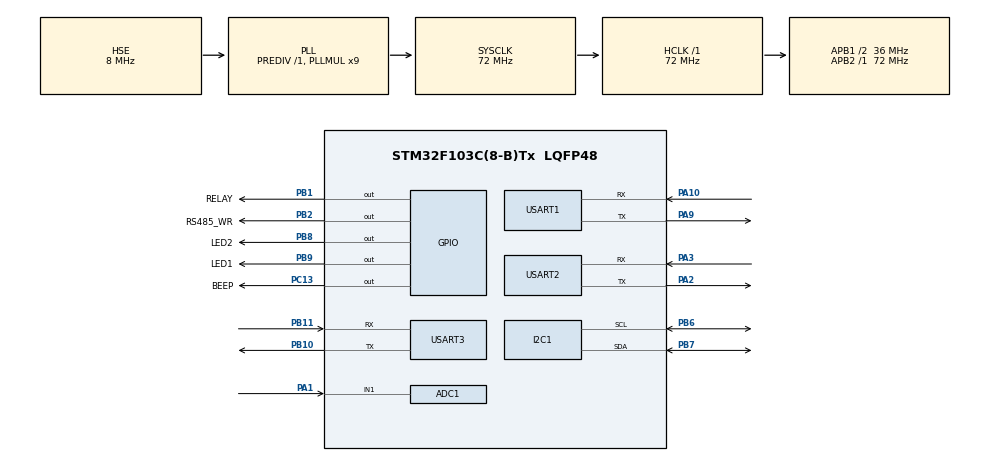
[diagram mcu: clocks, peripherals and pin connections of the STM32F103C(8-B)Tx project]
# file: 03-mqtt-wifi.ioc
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ADC1.Channel-6\#ChannelRegularConversion=ADC_CHANNEL_TEMPSENSOR
ADC1.NbrOfConversionFlag=1
ADC1.Rank-6\#ChannelRegularConversion=1
ADC1.SamplingTime-6\#ChannelRegularConversion=ADC_SAMPLETIME_239CYCLES_5
ADC1.master=1
Dma.Request0=USART3_RX
Dma.USART3_RX.0.Direction=DMA_PERIPH_TO_MEMORY
Dma.USART3_RX.0.Instance=DMA1_Channel3
Dma.USART3_RX.0.MemDataAlignment=DMA_MDATAALIGN_BYTE
Dma.USART3_RX.0.MemInc=DMA_MINC_ENABLE
Dma.USART3_RX.0.Mode=DMA_CIRCULAR
Dma.USART3_RX.0.PeriphDataAlignment=DMA_PDATAALIGN_BYTE
Dma.USART3_RX.0.PeriphInc=DMA_PINC_DISABLE
Dma.USART3_RX.0.Priority=DMA_PRIORITY_HIGH
Mcu.Family=STM32F1
Mcu.Name=STM32F103C(8-B)Tx
Mcu.Package=LQFP48
NVIC.DMA1_Channel3_IRQn=true\:0\:0\:false\:false\:true\:false\:true\:true
NVIC.PriorityGroup=NVIC_PRIORITYGROUP_4
NVIC.TIM1_UP_IRQn=true\:0\:0\:false\:false\:true\:true\:true\:true
NVIC.TIM3_IRQn=true\:2\:0\:true\:false\:false\:true\:true\:true
NVIC.TIM4_IRQn=true\:0\:0\:false\:false\:true\:true\:true\:true
NVIC.USART2_IRQn=true\:0\:0\:false\:false\:false\:true\:true\:true
NVIC.USART3_IRQn=true\:0\:0\:false\:false\:true\:true\:true\:true
PA1.Signal=ADCx_IN1
PA10.Mode=Asynchronous
PA10.Signal=USART1_RX
PA13.Mode=Serial_Wire
PA13.Signal=SYS_JTMS-SWDIO
PA14.Mode=Serial_Wire
PA14.Signal=SYS_JTCK-SWCLK
PA2.Mode=Asynchronous
PA2.Signal=USART2_TX
PA3.Mode=Asynchronous
PA3.Signal=USART2_RX
PA9.Mode=Asynchronous
PA9.Signal=USART1_TX
PB1.GPIO_Label=RELAY
PB1.Signal=GPIO_Output
PB10.Mode=Asynchronous
PB10.Signal=USART3_TX
PB11.Mode=Asynchronous
PB11.Signal=USART3_RX
PB2.GPIO_Label=RS485_WR
PB2.GPIO_Speed=GPIO_SPEED_FREQ_MEDIUM
PB2.Signal=GPIO_Output
PB6.Mode=I2C
PB6.Signal=I2C1_SCL
PB7.Mode=I2C
PB7.Signal=I2C1_SDA
PB8.GPIO_Label=LED2
PB8.PinState=GPIO_PIN_SET
PB8.Signal=GPIO_Output
PB9.GPIO_Label=LED1
PB9.PinState=GPIO_PIN_SET
PB9.Signal=GPIO_Output
PC13-TAMPER-RTC.GPIO_Label=BEEP
PC13-TAMPER-RTC.Signal=GPIO_Output
PD0-OSC_IN.Mode=HSE-External-Oscillator
PD0-OSC_IN.Signal=RCC_OSC_IN
PD1-OSC_OUT.Mode=HSE-External-Oscillator
PD1-OSC_OUT.Signal=RCC_OSC_OUT
ProjectManager.HeapSize=0x200
ProjectManager.StackSize=0x400
ProjectManager.TargetToolchain=MDK-ARM V5.32
RCC.ADCPresc=RCC_ADCPCLK2_DIV6
RCC.AHBFreq_Value=72000000
RCC.APB1CLKDivider=RCC_HCLK_DIV2
RCC.APB1Freq_Value=36000000
RCC.APB1TimFreq_Value=72000000
RCC.APB2Freq_Value=72000000
RCC.APB2TimFreq_Value=72000000
RCC.HCLKFreq_Value=72000000
RCC.PLLMUL=RCC_PLL_MUL9
RCC.PLLSourceVirtual=RCC_PLLSOURCE_HSE
RCC.RTCClockSelection=RCC_RTCCLKSOURCE_LSE
RCC.SYSCLKFreq_VALUE=72000000
RCC.SYSCLKSource=RCC_SYSCLKSOURCE_PLLCLK
RCC.USBFreq_Value=72000000
SH.ADCx_IN1.0=ADC1_IN1,IN1
TIM1.AutoReloadPreload=TIM_AUTORELOAD_PRELOAD_ENABLE
TIM1.Period=5000
TIM1.Prescaler=7200-1
TIM3.AutoReloadPreload=TIM_AUTORELOAD_PRELOAD_ENABLE
TIM3.Period=100
TIM3.Prescaler=3599
TIM4.AutoReloadPreload=TIM_AUTORELOAD_PRELOAD_DISABLE
TIM4.Period=100
TIM4.Prescaler=7200-1
USART1.VirtualMode=VM_ASYNC
USART2.VirtualMode=VM_ASYNC
USART3.VirtualMode=VM_ASYNC
VP_ADC1_TempSens_Input.Mode=IN-TempSens
VP_TIM1_VS_ClockSourceINT.Mode=Internal
VP_TIM3_VS_ClockSourceINT.Mode=Internal
VP_TIM4_VS_ClockSourceINT.Mode=Internal
board=custom

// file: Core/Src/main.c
/* USER CODE BEGIN Header */
/**
  ******************************************************************************
  * @file           : main.c
  * @brief          : Main program body
  ******************************************************************************
  * @attention
  *
  * Copyright (c) 2025 STMicroelectronics.
  * All rights reserved.
  *
  * This software is licensed under terms that can be found in the LICENSE file
  * in the root directory of this software component.
  * If no LICENSE file comes with this software, it is provided AS-IS.
  *
  ******************************************************************************
  */
/* USER CODE END Header */
#include "main.h"
#include "adc.h"
#include "dma.h"
#include "i2c.h"
#include "tim.h"
#include "usart.h"
#include "gpio.h"

/* USER CODE BEGIN Includes */
#include <stdio.h>
#include "oled.h"
#include "aht20.h"
#include "ina226.h"
#include "mb.h"
#include "modbus.h"
#include "wifi4g.h"
#include "fifo.h"
#include "mqtt.h"
/* USER CODE END Includes */

void SystemClock_Config(void);

int main(void)
{

  /* MCU Configuration--------------------------------------------------------*/

  /* Reset of all peripherals, Initializes the Flash interface and the Systick. */
  HAL_Init();

  /* Configure the system clock */
  SystemClock_Config();

  /* Initialize all configured peripherals */
  MX_GPIO_Init();
  MX_DMA_Init();
  MX_USART1_UART_Init();
  MX_I2C1_Init();
  MX_ADC1_Init();
  MX_TIM3_Init();
  MX_TIM1_Init();
  MX_USART3_UART_Init();
  MX_TIM4_Init();
  MX_USART2_UART_Init();
  /* USER CODE BEGIN 2 */

	HAL_Delay(400); // 延时给 esp8266 打印日志

	__HAL_UART_ENABLE_IT(&huart3, UART_IT_IDLE); //使能串UART3 IDLE(空闲)中断
	HAL_UART_Receive_DMA(&huart3, RX3_Buf, DMA_BUF_SIZE); //设置DMA传输，将uart3的数据搬运到RX3_Buf中

	printf("Uart1 init is ok\n");
	printf("WIFI 4G Test\n");

	OLED_Init();
	OLED_CLS(); // 清除屏幕显示
	OLED_ShowStr(16,0, (unsigned char*)"WIFI 4G Test", 2);
	AHT20_Init();
	INA226_Init();
	Queue_Init(&QUART3);// 队列初始化

	// 连接WIFI
	ESP8266_Connect_WIFI();

	// 连接 MQTT 服务器
	if(ESP8266_Connect_MQTTServer() == SET)
	{
		MQTT_Download_Flag = 1 ;
		printf("MQTT 服务器连接成功！！！\n");
	}

	HAL_TIM_Base_Start_IT(&htim1);

	Modbus_Init();
  /* USER CODE END 2 */

  /* Infinite loop */
  /* USER CODE BEGIN WHILE */
  while (1)
  {
		eMBPoll();// 轮训查询
		Modbus_Parse(); // 500ms 周期性刷新
		if(MQTT_UPLoad_Flag)
		{
			MQTT_UPLoad_Flag = 0;
			MQTT_SendData();
		}
    /* USER CODE END WHILE */

  }
}

void SystemClock_Config(void)
{
  RCC_OscInitTypeDef RCC_OscInitStruct = {0};
  RCC_ClkInitTypeDef RCC_ClkInitStruct = {0};
  RCC_PeriphCLKInitTypeDef PeriphClkInit = {0};

  /** Initializes the RCC Oscillators according to the specified parameters
  * in the RCC_OscInitTypeDef structure.
  */
  RCC_OscInitStruct.OscillatorType = RCC_OSCILLATORTYPE_HSE;
  RCC_OscInitStruct.HSEState = RCC_HSE_ON;
  RCC_OscInitStruct.HSEPredivValue = RCC_HSE_PREDIV_DIV1;
  RCC_OscInitStruct.HSIState = RCC_HSI_ON;
  RCC_OscInitStruct.PLL.PLLState = RCC_PLL_ON;
  RCC_OscInitStruct.PLL.PLLSource = RCC_PLLSOURCE_HSE;
  RCC_OscInitStruct.PLL.PLLMUL = RCC_PLL_MUL9;
  if (HAL_RCC_OscConfig(&RCC_OscInitStruct) != HAL_OK)
  {
    Error_Handler();
  }

  /** Initializes the CPU, AHB and APB buses clocks
  */
  RCC_ClkInitStruct.ClockType = RCC_CLOCKTYPE_HCLK|RCC_CLOCKTYPE_SYSCLK
                              |RCC_CLOCKTYPE_PCLK1|RCC_CLOCKTYPE_PCLK2;
  RCC_ClkInitStruct.SYSCLKSource = RCC_SYSCLKSOURCE_PLLCLK;
  RCC_ClkInitStruct.AHBCLKDivider = RCC_SYSCLK_DIV1;
  RCC_ClkInitStruct.APB1CLKDivider = RCC_HCLK_DIV2;
  RCC_ClkInitStruct.APB2CLKDivider = RCC_HCLK_DIV1;

  if (HAL_RCC_ClockConfig(&RCC_ClkInitStruct, FLASH_LATENCY_2) != HAL_OK)
  {
    Error_Handler();
  }
  PeriphClkInit.PeriphClockSelection = RCC_PERIPHCLK_ADC;
  PeriphClkInit.AdcClockSelection = RCC_ADCPCLK2_DIV6;
  if (HAL_RCCEx_PeriphCLKConfig(&PeriphClkInit) != HAL_OK)
  {
    Error_Handler();
  }
}

void Error_Handler(void)
{
  __disable_irq();
  while (1)
  {
  }
}
